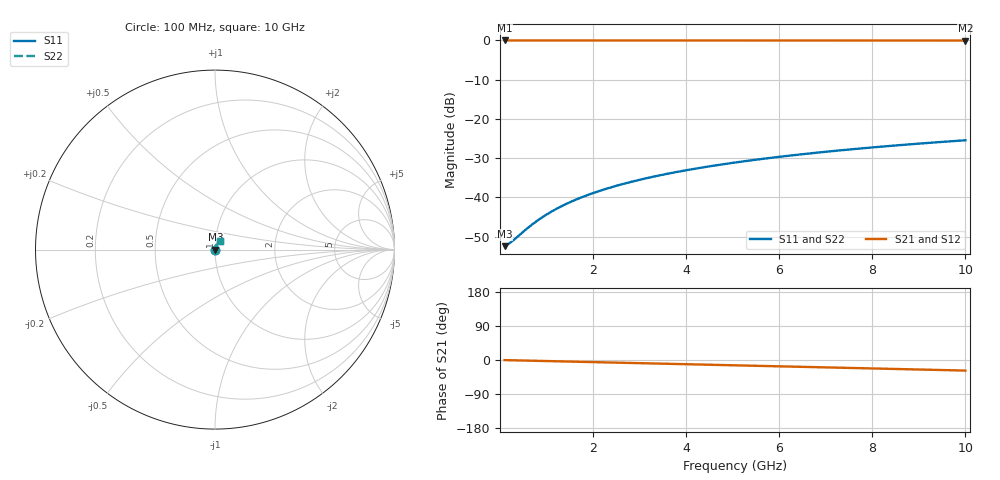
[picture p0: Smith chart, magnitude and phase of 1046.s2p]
# Hz S RI R 50.00
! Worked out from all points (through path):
!   100 points, 100 MHz to 10 GHz, reference 50 ohm
!   highest |S21| = -0.02 dB at 100 MHz (marker M1); lowest = 0.0 dB at 10 GHz (marker M2)
!   group delay of S21, straight-line fit = 7.75 ps
!   lowest |S11| = -52.4 dB at 100 MHz (marker M3), VSWR 1.00, Z = 50.2 + j0.0546 ohm
!   |S11| at or under -10 dB: start of sweep to end of sweep
!   |S22| runs from -52.4 to -25.5 dB; largest |S21 - S12| = 0
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1e8  0.00232 0.000544  0.9977 -0.00483  0.9977 -0.00483  0.00232 0.000544
2e8  0.00235 0.00109  0.9976 -0.00966  0.9976 -0.00966  0.00235 0.00109
3e8  0.00237 0.00163  0.9975 -0.0145  0.9975 -0.0145  0.00237 0.00163
5e8  0.00242 0.00272  0.9973 -0.0242  0.9973 -0.0242  0.00242 0.00272
7e8  0.0025 0.0038  0.997 -0.0338  0.997 -0.0338  0.0025 0.0038
8e8  0.00254 0.00434  0.9968 -0.0386  0.9968 -0.0386  0.00254 0.00434
1e9  0.00264 0.00542  0.9964 -0.0483  0.9964 -0.0483  0.00264 0.00542
1.2e9  0.00276 0.0065  0.9959 -0.0579  0.9959 -0.0579  0.00276 0.0065
1.4e9  0.00291 0.00758  0.9952 -0.0676  0.9952 -0.0676  0.00291 0.00758
1.6e9  0.00307 0.00865  0.9945 -0.0772  0.9945 -0.0772  0.00307 0.00865
1.8e9  0.00325 0.00972  0.9937 -0.0869  0.9937 -0.0869  0.00325 0.00972
2.1e9  0.00356 0.0113  0.9923 -0.1013  0.9923 -0.1013  0.00356 0.0113
2.5e9  0.00405 0.0134  0.9901 -0.1205  0.9901 -0.1205  0.00405 0.0134
2.9e9  0.00462 0.0155  0.9875 -0.1397  0.9875 -0.1397  0.00462 0.0155
3.4e9  0.00544 0.0181  0.9838 -0.1636  0.9838 -0.1636  0.00544 0.0181
4.2e9  0.00702 0.0221  0.9765 -0.2017  0.9765 -0.2017  0.00702 0.0221
5.1e9  0.00917 0.0265  0.9666 -0.2442  0.9666 -0.2442  0.00917 0.0265
5.9e9  0.0114 0.0302  0.9562 -0.2817  0.9562 -0.2817  0.0114 0.0302
6.7e9  0.0139 0.0337  0.9443 -0.3187  0.9443 -0.3187  0.0139 0.0337
7.5e9  0.0167 0.0371  0.931 -0.3553  0.931 -0.3553  0.0167 0.0371
8.4e9  0.0201 0.0406  0.9142 -0.3958  0.9142 -0.3958  0.0201 0.0406
1e10  0.027 0.046  0.88 -0.466  0.88 -0.466  0.027 0.046
